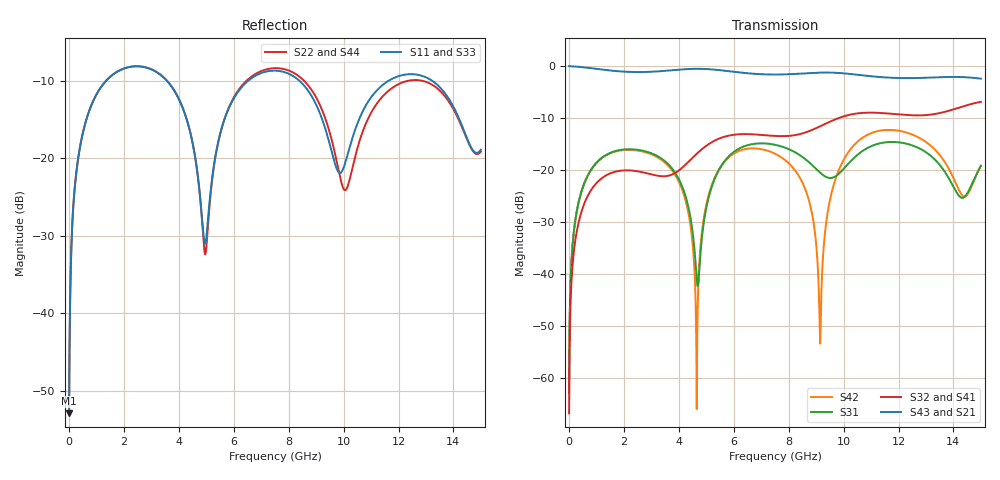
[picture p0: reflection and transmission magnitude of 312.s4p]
! Created with skrf 1.8.0 (http://scikit-rf.org).
# GHz S RI R 50.0
!freq ReS11 ImS11 ReS12 ImS12 ReS13 ImS13
! ReS14 ImS14
! ReS21 ImS21 ReS22 ImS22 ReS23 ImS23
! ReS24 ImS24
! ReS31 ImS31 ReS32 ImS32 ReS33 ImS33
! ReS34 ImS34
! ReS41 ImS41 ReS42 ImS42 ReS43 ImS43
! ReS44 ImS44
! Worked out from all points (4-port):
!   2499 points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, 5 MHz to 15 GHz, reference 50 ohm
!   strongest paths, dB at 5 MHz, 3.476 GHz, 7.19 GHz, 11.1 GHz, 15 GHz:
!     S43: 0.0, -0.9, -1.6, -2.0, -2.4
!     S21: 0.0, -0.9, -1.6, -2.0, -2.4
!     S32: -66.8, -21.2, -13.3, -9.0, -6.9
!     S41: -66.8, -21.2, -13.3, -9.0, -6.9
!     S31: -62.8, -18.2, -14.9, -15.2, -19.2
!     S42: -62.8, -18.5, -16.2, -12.7, -19.2
!   lowest |S11| = -52.9 dB at 5 MHz (marker M1), VSWR 1.00, Z = 50.2 + j0.138 ohm
!   |S11| at or under -10 dB: 3.565 GHz to 6.522 GHz (2.957 GHz wide, 58.6 % of centre); 8.394 GHz to 11.63 GHz (3.24 GHz wide, 32.4 % of centre); 13.23 GHz to end of sweep (the widest 3 of 4)
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0.005  0.00181 0.00137  0.9982 -0.00352  9.13e-05 0.000715  -8.86e-05 -0.000449
       0.9982 -0.00352  0.00181 0.00137  -8.86e-05 -0.000449  9.12e-05 0.000715
       9.13e-05 0.000715  -8.86e-05 -0.000449  0.00181 0.00137  0.9982 -0.00352
       -8.86e-05 -0.000449  9.12e-05 0.000715  0.9982 -0.00352  0.00181 0.00137
1.469362  0.2833 0.1731  0.5193 -0.746  0.1343 0.0548  -0.0921 -0.00124
          0.5193 -0.746  0.2845 0.1721  -0.0921 -0.00114  0.1309 0.0597
          0.1343 0.0548  -0.0921 -0.00114  0.2832 0.1731  0.5193 -0.746
          -0.0921 -0.00124  0.1309 0.0597  0.5193 -0.746  0.2845 0.1721
4.646818  0.0432 -0.077  -0.9044 -0.2611  -0.00782 -0.00501  -0.0359 0.1384
          -0.9044 -0.2611  0.0391 -0.0797  -0.0343 0.1389  0.000546 -0.0006
          -0.00782 -0.00501  -0.0343 0.1389  0.0443 -0.0758  -0.9045 -0.261
          -0.0359 0.1384  0.000546 -0.0006  -0.9045 -0.261  0.0374 -0.0793
5.702376  0.1162 0.1463  -0.822 0.3683  0.0959 0.0804  0.11 0.1798
          -0.822 0.3683  0.1153 0.1488  0.1119 0.1786  0.0874 0.0873
          0.0959 0.0804  0.1119 0.1786  0.1181 0.146  -0.822 0.3681
          0.11 0.1798  0.0874 0.0873  -0.822 0.3681  0.1139 0.1506
9.147561  0.1481 -0.1244  0.6723 0.5438  -0.0692 -0.0642  0.1624 -0.2078
          0.6723 0.5438  0.1493 -0.1603  0.1582 -0.2109  0.00202 0.000707
          -0.0692 -0.0642  0.1582 -0.2109  0.1482 -0.123  0.672 0.5448
          0.1624 -0.2078  0.00202 0.000707  0.672 0.5448  0.1485 -0.1591
10.01042  0.0842 0.0257  0.8462 0.0924  -0.0456 0.0927  0.0304 -0.3278
          0.8462 0.0924  0.0612 -0.0158  0.024 -0.328  0.0522 0.1152
          -0.0456 0.0927  0.024 -0.328  0.0861 0.0266  0.8461 0.0936
          0.0304 -0.3278  0.0522 0.1152  0.8461 0.0936  0.0596 -0.0133
15  0.113 0.0127  -0.7419 -0.1496  -1.63e-06 0.1099  -0.0816 0.4451
    -0.7419 -0.1496  0.1096 0.0141  -0.0692 0.4474  -0.00109 0.1101
    -1.63e-06 0.1099  -0.0692 0.4474  0.1118 0.0126  -0.7411 -0.1544
    -0.0816 0.4451  -0.00109 0.1101  -0.7411 -0.1544  0.1103 0.0188
